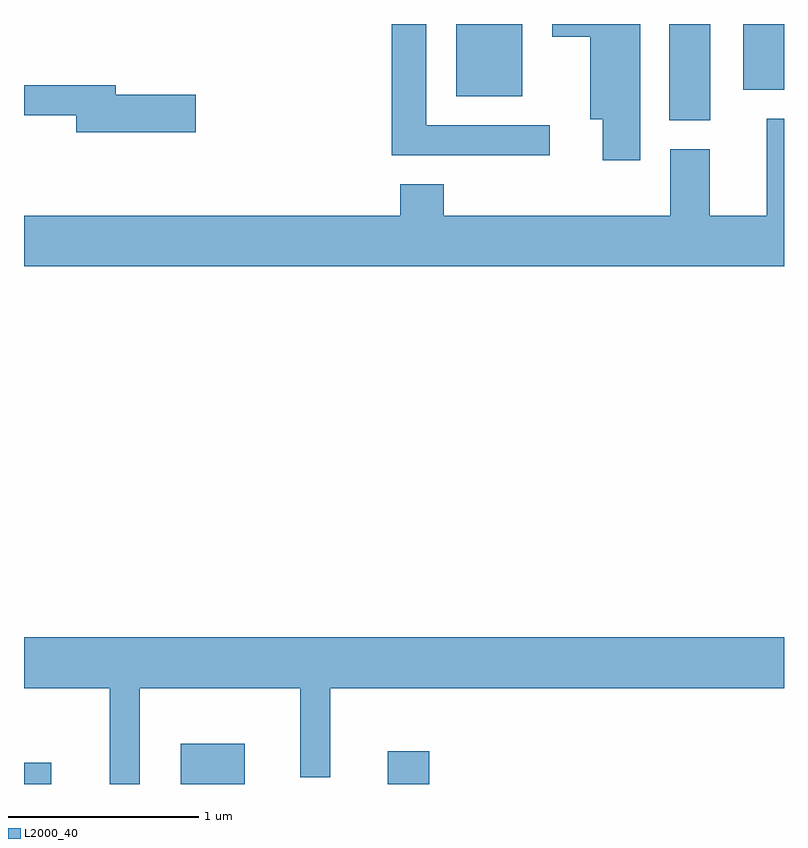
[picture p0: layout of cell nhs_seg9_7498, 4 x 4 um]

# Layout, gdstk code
import gdstk
lib = gdstk.Library(unit=1e-6, precision=1e-09)
def R(c, l, rs):  # rectangles x0, y0, x1, y1
    for r in rs: c.add(gdstk.rectangle(r[:2], r[2:], *l))
def P(c, l, *ps):  # polygons
    for p in ps: c.add(gdstk.Polygon(p, *l))
L2000_40 = (2000, 40)

nhs_seg9_7498 = lib.new_cell('nhs_seg9_7498')
R(nhs_seg9_7498, L2000_40, [(407.611,1982.432,407.754,1982.543), (408.436,1982.432,408.774,1982.644), (409.526,1982.432,409.744,1982.604), (411.006,1985.926,411.224,1986.432), (409.886,1986.051,410.234,1986.432), (411.396,1986.086,411.611,1986.432)])
P(nhs_seg9_7498, L2000_40, [(410.378,1985.899),(409.729,1985.899),(409.729,1986.432),(409.546,1986.432),(409.546,1985.741),(410.378,1985.741)],
  [(410.854,1986.432),(410.391,1986.432),(410.391,1986.366),(410.591,1986.366),(410.591,1985.931),(410.656,1985.931),(410.656,1985.716),(410.854,1985.716)],
  [(408.514,1986.059),(408.094,1986.059),(408.094,1986.109),(407.611,1986.109),(407.611,1985.951),(407.886,1985.951),(407.886,1985.861),(408.514,1985.861)],
  [(411.611,1985.934),(411.521,1985.934),(411.521,1985.424),(411.219,1985.424),(411.219,1985.774),(411.011,1985.774),(411.011,1985.424),(409.819,1985.424),(409.819,1985.589),(409.591,1985.589),(409.591,1985.424),(407.611,1985.424),(407.611,1985.156),(411.611,1985.156)],
  [(408.219,1982.936),(409.066,1982.936),(409.066,1982.468),(409.224,1982.468),(409.224,1982.936),(411.611,1982.936),(411.611,1983.204),(407.611,1983.204),(407.611,1982.936),(408.061,1982.936),(408.061,1982.432),(408.219,1982.432)])

lib.write_gds('nhs_seg9_7498.gds')
